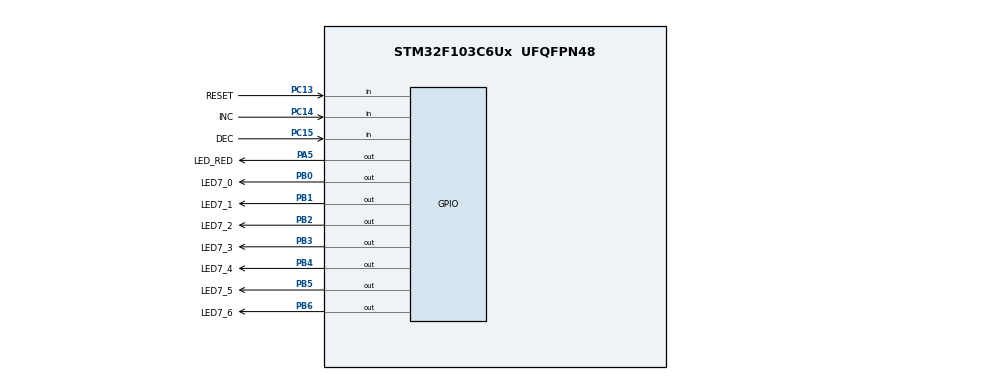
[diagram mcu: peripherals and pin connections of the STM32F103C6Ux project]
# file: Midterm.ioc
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Mcu.Family=STM32F1
Mcu.Name=STM32F103C6Ux
Mcu.Package=UFQFPN48
NVIC.PriorityGroup=NVIC_PRIORITYGROUP_4
NVIC.TIM2_IRQn=true\:0\:0\:false\:false\:true\:true\:true
PA5.GPIO_Label=LED_RED
PA5.Signal=GPIO_Output
PB0.GPIO_Label=LED7_0
PB0.Signal=GPIO_Output
PB1.GPIO_Label=LED7_1
PB1.Signal=GPIO_Output
PB2.GPIO_Label=LED7_2
PB2.Signal=GPIO_Output
PB3.GPIO_Label=LED7_3
PB3.Signal=GPIO_Output
PB4.GPIO_Label=LED7_4
PB4.Signal=GPIO_Output
PB5.GPIO_Label=LED7_5
PB5.Signal=GPIO_Output
PB6.GPIO_Label=LED7_6
PB6.Signal=GPIO_Output
PC13-TAMPER-RTC.GPIO_Label=RESET
PC13-TAMPER-RTC.GPIO_PuPd=GPIO_PULLUP
PC13-TAMPER-RTC.Signal=GPIO_Input
PC14-OSC32_IN.GPIO_Label=INC
PC14-OSC32_IN.GPIO_PuPd=GPIO_PULLUP
PC14-OSC32_IN.Signal=GPIO_Input
PC15-OSC32_OUT.GPIO_Label=DEC
PC15-OSC32_OUT.GPIO_PuPd=GPIO_PULLUP
PC15-OSC32_OUT.Signal=GPIO_Input
ProjectManager.HeapSize=0x200
ProjectManager.StackSize=0x400
ProjectManager.TargetToolchain=STM32CubeIDE
RCC.APB1Freq_Value=8000000
RCC.APB2Freq_Value=8000000
TIM2.Period=9
TIM2.Prescaler=7999
VP_SYS_VS_ND.Mode=No_Debug
VP_TIM2_VS_ClockSourceINT.Mode=Internal
board=custom

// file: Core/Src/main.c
/* USER CODE BEGIN Header */
/**
  ******************************************************************************
  * @file           : main.c
  * @brief          : Main program body
  ******************************************************************************
  * @attention
  *
  * <h2><center>&copy; Copyright (c) 2022 STMicroelectronics.
  * All rights reserved.</center></h2>
  *
  * This software component is licensed by ST under BSD 3-Clause license,
  * the "License"; You may not use this file except in compliance with the
  * License. You may obtain a copy of the License at:
  *                        opensource.org/licenses/BSD-3-Clause
  *
  ******************************************************************************
  */
/* USER CODE END Header */
#include "main.h"

/* USER CODE BEGIN Includes */
#include "software_timer.h"
#include "button.h"
#include "global.h"
#include "display7segs.h"
#include "normal_fsm.h"
#include "no_button_pressed_fsm.h"
/* USER CODE END Includes */

TIM_HandleTypeDef htim2;

void SystemClock_Config(void);
static void MX_GPIO_Init(void);
static void MX_TIM2_Init(void);

int main(void)
{

  /* MCU Configuration--------------------------------------------------------*/

  /* Reset of all peripherals, Initializes the Flash interface and the Systick. */
  HAL_Init();

  /* Configure the system clock */
  SystemClock_Config();

  /* Initialize all configured peripherals */
  MX_GPIO_Init();
  MX_TIM2_Init();
  /* USER CODE BEGIN 2 */
  HAL_TIM_Base_Start_IT(&htim2);
  /* USER CODE END 2 */

  /* Infinite loop */
  /* USER CODE BEGIN WHILE */

  while (1)
  {
	  fsm_simple_buttons_run();
	  no_button_pressed_fsm();
    /* USER CODE END WHILE */

  }
}

void SystemClock_Config(void)
{
  RCC_OscInitTypeDef RCC_OscInitStruct = {0};
  RCC_ClkInitTypeDef RCC_ClkInitStruct = {0};

  /** Initializes the RCC Oscillators according to the specified parameters
  * in the RCC_OscInitTypeDef structure.
  */
  RCC_OscInitStruct.OscillatorType = RCC_OSCILLATORTYPE_HSI;
  RCC_OscInitStruct.HSIState = RCC_HSI_ON;
  RCC_OscInitStruct.HSICalibrationValue = RCC_HSICALIBRATION_DEFAULT;
  RCC_OscInitStruct.PLL.PLLState = RCC_PLL_NONE;
  if (HAL_RCC_OscConfig(&RCC_OscInitStruct) != HAL_OK)
  {
    Error_Handler();
  }
  /** Initializes the CPU, AHB and APB buses clocks
  */
  RCC_ClkInitStruct.ClockType = RCC_CLOCKTYPE_HCLK|RCC_CLOCKTYPE_SYSCLK
                              |RCC_CLOCKTYPE_PCLK1|RCC_CLOCKTYPE_PCLK2;
  RCC_ClkInitStruct.SYSCLKSource = RCC_SYSCLKSOURCE_HSI;
  RCC_ClkInitStruct.AHBCLKDivider = RCC_SYSCLK_DIV1;
  RCC_ClkInitStruct.APB1CLKDivider = RCC_HCLK_DIV1;
  RCC_ClkInitStruct.APB2CLKDivider = RCC_HCLK_DIV1;

  if (HAL_RCC_ClockConfig(&RCC_ClkInitStruct, FLASH_LATENCY_0) != HAL_OK)
  {
    Error_Handler();
  }
}

static void MX_TIM2_Init(void)
{

  TIM_ClockConfigTypeDef sClockSourceConfig = {0};
  TIM_MasterConfigTypeDef sMasterConfig = {0};

  htim2.Instance = TIM2;
  htim2.Init.Prescaler = 7999;
  htim2.Init.CounterMode = TIM_COUNTERMODE_UP;
  htim2.Init.Period = 9;
  htim2.Init.ClockDivision = TIM_CLOCKDIVISION_DIV1;
  htim2.Init.AutoReloadPreload = TIM_AUTORELOAD_PRELOAD_DISABLE;
  if (HAL_TIM_Base_Init(&htim2) != HAL_OK)
  {
    Error_Handler();
  }
  sClockSourceConfig.ClockSource = TIM_CLOCKSOURCE_INTERNAL;
  if (HAL_TIM_ConfigClockSource(&htim2, &sClockSourceConfig) != HAL_OK)
  {
    Error_Handler();
  }
  sMasterConfig.MasterOutputTrigger = TIM_TRGO_RESET;
  sMasterConfig.MasterSlaveMode = TIM_MASTERSLAVEMODE_DISABLE;
  if (HAL_TIMEx_MasterConfigSynchronization(&htim2, &sMasterConfig) != HAL_OK)
  {
    Error_Handler();
  }

}

static void MX_GPIO_Init(void)
{
  GPIO_InitTypeDef GPIO_InitStruct = {0};

  /* GPIO Ports Clock Enable */
  __HAL_RCC_GPIOC_CLK_ENABLE();
  __HAL_RCC_GPIOA_CLK_ENABLE();
  __HAL_RCC_GPIOB_CLK_ENABLE();

  /*Configure GPIO pin Output Level */
  HAL_GPIO_WritePin(LED_RED_GPIO_Port, LED_RED_Pin, GPIO_PIN_RESET);

  /*Configure GPIO pin Output Level */
  HAL_GPIO_WritePin(GPIOB, LED7_0_Pin|LED7_1_Pin|LED7_2_Pin|LED7_3_Pin
                          |LED7_4_Pin|LED7_5_Pin|LED7_6_Pin, GPIO_PIN_RESET);

  /*Configure GPIO pins : RESET_Pin INC_Pin DEC_Pin */
  GPIO_InitStruct.Pin = RESET_Pin|INC_Pin|DEC_Pin;
  GPIO_InitStruct.Mode = GPIO_MODE_INPUT;
  GPIO_InitStruct.Pull = GPIO_PULLUP;
  HAL_GPIO_Init(GPIOC, &GPIO_InitStruct);

  /*Configure GPIO pin : LED_RED_Pin */
  GPIO_InitStruct.Pin = LED_RED_Pin;
  GPIO_InitStruct.Mode = GPIO_MODE_OUTPUT_PP;
  GPIO_InitStruct.Pull = GPIO_NOPULL;
  GPIO_InitStruct.Speed = GPIO_SPEED_FREQ_LOW;
  HAL_GPIO_Init(LED_RED_GPIO_Port, &GPIO_InitStruct);

  /*Configure GPIO pins : LED7_0_Pin LED7_1_Pin LED7_2_Pin LED7_3_Pin
                           LED7_4_Pin LED7_5_Pin LED7_6_Pin */
  GPIO_InitStruct.Pin = LED7_0_Pin|LED7_1_Pin|LED7_2_Pin|LED7_3_Pin
                          |LED7_4_Pin|LED7_5_Pin|LED7_6_Pin;
  GPIO_InitStruct.Mode = GPIO_MODE_OUTPUT_PP;
  GPIO_InitStruct.Pull = GPIO_NOPULL;
  GPIO_InitStruct.Speed = GPIO_SPEED_FREQ_LOW;
  HAL_GPIO_Init(GPIOB, &GPIO_InitStruct);

}

/* USER CODE BEGIN 4 */
int timer_for_led = 100;
void HAL_TIM_PeriodElapsedCallback(TIM_HandleTypeDef *htim){
timer_for_led--;
if(timer_for_led <= 0) {
timer_for_led = 100;
HAL_GPIO_TogglePin (LED_RED_GPIO_Port, LED_RED_Pin ) ;
}
timerRun();
getKeyInput1();
getKeyInput2();
getKeyInput3();
updateCounter();
}
/* USER CODE END 4 */

void Error_Handler(void)
{
  __disable_irq();
  while (1)
  {
  }
}

/************************ (C) COPYRIGHT STMicroelectronics *****END OF FILE****/
